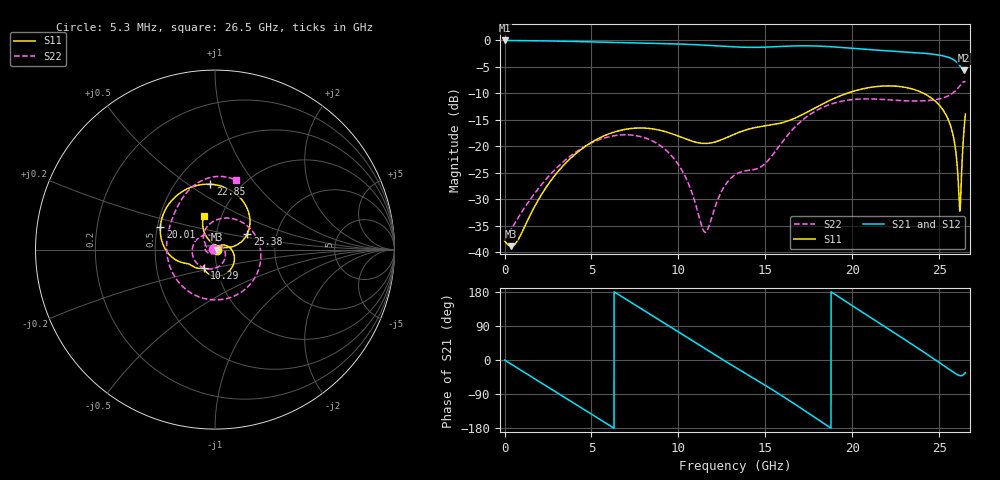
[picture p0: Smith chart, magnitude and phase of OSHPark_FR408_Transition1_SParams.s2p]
! TOUCHSTONE file generated by CST MICROWAVE STUDIO
! Date and time: Tue Jan  7 09:45:48 2020
! Project name: OSHPark_FR408_Transition1.cst
! Parameters = {BottomSupport_Left_YMax=4.76; BottomSupport_Left_YMin=3.74; BottomSupport_Right_YMax=-3.74; BottomSupport_Right_YMin=-4.76; BottomSupport_XMax=11.64; BottomSupport_XMin=6.89; BottomSupport_ZMax=-1.64084; BottomSupport_ZMin=-3.58; Cu1_Thickness=0.03556; Cu2_Thickness=0.01778; Fr408Cor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
! Header version: 2015
! Port assignment regex: !\s*Touchstone port\s*([0-9]+)\s*=\s*CST MWS port\s*([0-9]+)\s*\(\"(.*)\"\)(\s*mode\s*([0-9]+))?.*
! Touchstone port assignment:
! Touchstone port 1 = CST MWS port 1 ("")
! Touchstone port 2 = CST MWS port 2 ("")
# GHz S MA R 50
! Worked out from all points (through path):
!   5000 points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, 5.3 MHz to 26.5 GHz, reference 50 ohm
!   highest |S21| = 0.00 dB at 5.3 MHz (marker M1); lowest = -5.6 dB at 26.41 GHz (marker M2)
!   group delay of S21, straight-line fit = 80.5 ps
!   lowest |S11| = -38.8 dB at 386.9 MHz (marker M3), VSWR 1.02, Z = 51.2 - j0.0212 ohm
!   |S11| at or under -10 dB: start of sweep to 19.67 GHz; 24.11 GHz to end of sweep
!   |S22| runs from -37.7 to -7.8 dB; largest |S21 - S12| = 0
!   S11 on the Smith chart (normalised r, x): 5.3 MHz: 1.02, -0.01; 10.29 GHz: 0.87, -0.18; 20.01 GHz: 0.52, +0.15; 22.85 GHz: 0.73, +0.62; 25.38 GHz: 1.41, +0.26; 26.5 GHz: 0.83, +0.33
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0.0053  0.0128 -22.0  0.9999 -0.2  0.9999 -0.2  0.01306 155.3
0.3869  0.01143 -1.0  0.9988 -11.1  0.9988 -11.1  0.01646 121.4
2.5175  0.04402 34.6  0.989 -72.0  0.989 -72.0  0.0517 -1.6
4.4255  0.09421 -1.7  0.9748 -126.6  0.9748 -126.6  0.09584 -76.7
5.5226  0.1215 -27.0  0.9651 -157.9  0.9651 -157.9  0.1169 -114.5
6.5508  0.1403 -51.1  0.956 172.8  0.956 172.8  0.1277 -148.7
8.8404  0.1431 -100.3  0.9372 107.4  0.9372 107.4  0.1048 133.7
10.2873  0.1198 -120.3  0.9223 65.7  0.9223 65.7  0.05603 76.2
11.5434  0.1066 -123.6  0.9022 29.4  0.9022 29.4  0.01545 -43.2
13.2553  0.1311 -127.8  0.8688 -18.9  0.8688 -18.9  0.05388 -179.4
15.6562  0.1629 -149.7  0.8744 -85.8  0.8744 -85.8  0.09386 133.7
17.6702  0.2225 -164.4  0.8885 -146.2  0.8885 -146.2  0.2055 53.9
18.8044  0.2767 179.5  0.8718 179.1  0.8718 179.1  0.2517 1.9
20.0075  0.3296 157.4  0.843 142.9  0.843 142.9  0.2766 -49.7
22.0851  0.3724 112.3  0.7972 81.6  0.7972 81.6  0.2752 -123.4
22.8536  0.365 94.0  0.7831 58.7  0.7831 58.7  0.2704 -146.0
24.1839  0.3117 60.1  0.7552 18.5  0.7552 18.5  0.2697 178.1
25.3764  0.1996 25.9  0.7047 -18.7  0.7047 -18.7  0.2931 144.7
25.8322  0.1186 11.4  0.6559 -33.0  0.6559 -33.0  0.3241 128.4
26.1555  0.02767 40.6  0.5849 -41.0  0.5849 -41.0  0.3689 111.0
26.4099  0.1363 119.2  0.5236 -37.7  0.5236 -37.7  0.4089 86.0
26.5  0.2015 107.4  0.5457 -33.2  0.5457 -33.2  0.4035 72.7
